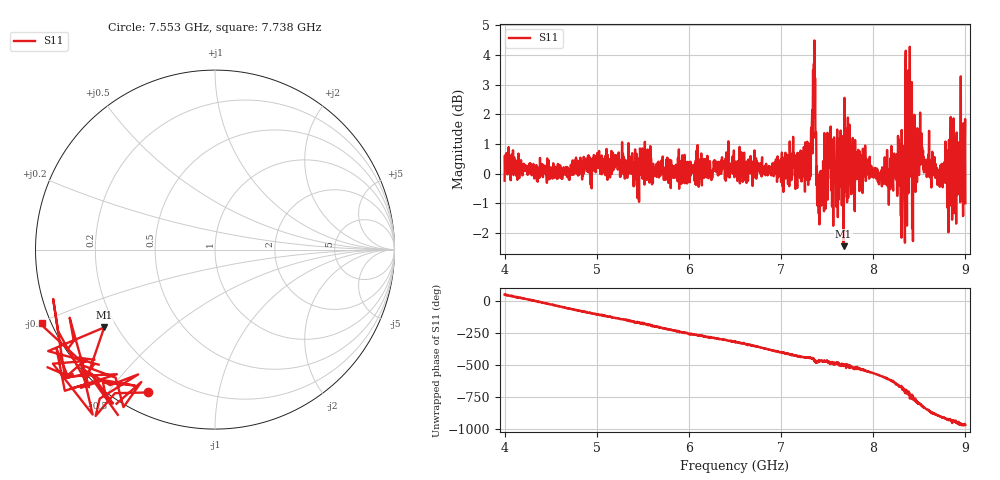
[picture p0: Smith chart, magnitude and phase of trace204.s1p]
! Created with skrf 1.8.0 (http://scikit-rf.org).
# Hz S RI R 50.0
!freq ReS11 ImS11
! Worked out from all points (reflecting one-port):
!   1601 points, 4 GHz to 9 GHz, reference 50 ohm
!   lowest |S11| = -2.4 dB at 7.678 GHz (marker M1), VSWR 7.14, Z = 7.68 - j15.5 ohm
!   phase of S11 starts at 52 deg and turns -1021 deg over the sweep
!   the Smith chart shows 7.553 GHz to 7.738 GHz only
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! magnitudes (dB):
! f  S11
! 4 GHz  -0.2
! 4.625 GHz  -0.2
! 5.25 GHz  0.4
! 5.875 GHz  0.2
! 6.5 GHz  0.1
! 7.125 GHz  0.4
! 7.297 GHz  0.4
! 7.35 GHz  2.1
! 7.369 GHz  3.2
! 7.397 GHz  -1.1
! 7.416 GHz  -1.7
! 7.512 GHz  0.5
! 7.578 GHz  0.6
! 7.678 GHz  -2.4
! 7.75 GHz  0.2
! 8.169 GHz  -1.1
! 8.262 GHz  -0.8
! 8.319 GHz  0.9
! 8.334 GHz  0.8
! 8.356 GHz  1.9
! 8.375 GHz  2.5
! 8.447 GHz  2.0
! 8.459 GHz  -0.6
! 8.503 GHz  0.8
! 8.569 GHz  0.1
! 8.841 GHz  1.9
! 8.972 GHz  1.0
! 9 GHz  -1.0
